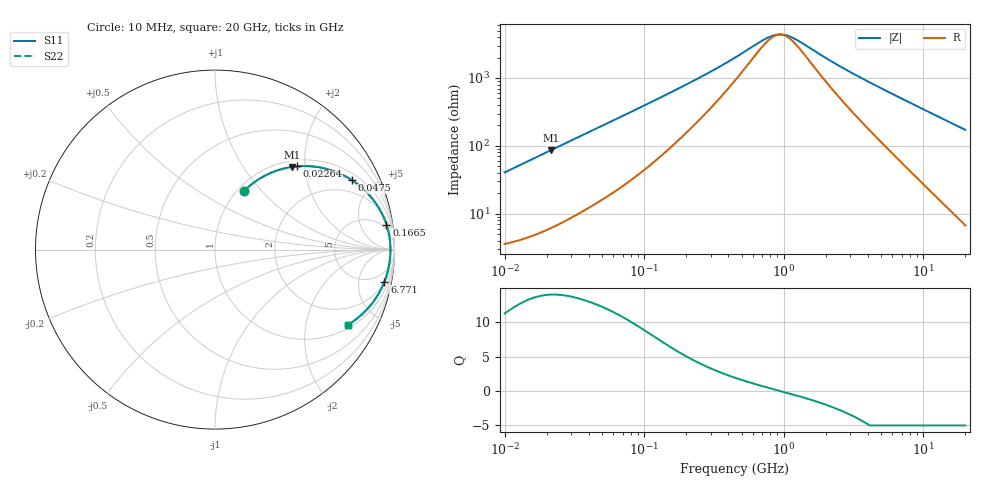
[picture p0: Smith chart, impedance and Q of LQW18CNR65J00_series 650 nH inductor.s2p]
!Murata Part Number: LQW18CNR65J00
!These Parameters are Measured in Series Mode Connection
!  o--[Z]--o
!Port1  Port2
!  o-------o
!Freq. Start=10[MHz] Stop=20[GHz], 401[Steps]
# Hz S RI R 50
!Freq.(Hz) S11(Real) S11(Imag) S21(Real) S21(Imag) S12(Real) S12(Imag) S22(Real) S22(Imag)
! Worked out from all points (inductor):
!   401 points, 10 MHz to 20 GHz, reference 50 ohm
!   read as one part in series: L = 644 nH near 10.39 MHz
!   highest Q = 14 at 21.38 MHz (marker M1), where L = 640 nH
!   self-resonance near 940.4 MHz
!   S11 on the Smith chart (normalised r, x): 10 MHz: 1.07, +0.81; 22.64 MHz: 1.13, +1.82; 47.5 MHz: 1.30, +3.75; 166.5 MHz: 3, +13; 6.771 GHz: 2, -10; 20 GHz: 1.13, -3.44
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1e7  0.1629 0.3275  0.8371 -0.3275  0.8371 -0.3275  0.1629 0.3275
1.407817e7  0.2614 0.4028  0.7386 -0.4028  0.7386 -0.4028  0.2614 0.4028
2.138469e7  0.431 0.4608  0.569 -0.4608  0.569 -0.4608  0.431 0.4608
2.263918e7  0.4568 0.4637  0.5432 -0.4637  0.5432 -0.4637  0.4568 0.4637
2.843751e7  0.5606 0.4614  0.4394 -0.4614  0.4394 -0.4614  0.5606 0.4614
3.572091e7  0.6586 0.4381  0.3414 -0.4381  0.3414 -0.4381  0.6586 0.4381
4.750192e7  0.7624 0.3872  0.2376 -0.3872  0.2376 -0.3872  0.7624 0.3872
7.495023e7  0.8751 0.2861  0.1249 -0.2861  0.1249 -0.2861  0.8751 0.2861
1.275983e8  0.9395 0.1804  0.0605 -0.1804  0.0605 -0.1804  0.9395 0.1804
1.664873e8  0.9553 0.1391  0.0447 -0.1391  0.0447 -0.1391  0.9553 0.1391
2.888722e8  0.971 0.0764  0.029 -0.0764  0.029 -0.0764  0.971 0.0764
4.472136e8  0.9756 0.0424  0.0244 -0.0424  0.0244 -0.0424  0.9756 0.0424
7.329628e8  0.9774 0.0132  0.0226 -0.0132  0.0226 -0.0132  0.9774 0.0132
9.033588e8  0.9776 0.0021  0.0224 -0.0021  0.0224 -0.0021  0.9776 0.0021
1.012455e9  0.9777 -0.00386  0.0223 0.00386  0.0223 0.00386  0.9777 -0.00386
1.134726e9  0.9776 -0.00988  0.0224 0.00988  0.0224 0.00988  0.9776 -0.00988
1.597488e9  0.9768 -0.029  0.0232 0.029  0.0232 0.029  0.9768 -0.029
2.771802e9  0.973 -0.0679  0.027 0.0679  0.027 0.0679  0.973 -0.0679
5.706372e9  0.9539 -0.1506  0.0461 0.1506  0.0461 0.1506  0.9539 -0.1506
6.770695e9  0.9441 -0.1783  0.0559 0.1783  0.0559 0.1783  0.9441 -0.1783
1.197321e10  0.8772 -0.2969  0.1228 0.2969  0.1228 0.2969  0.8772 -0.2969
2e10  0.7395 -0.4197  0.2605 0.4197  0.2605 0.4197  0.7395 -0.4197
